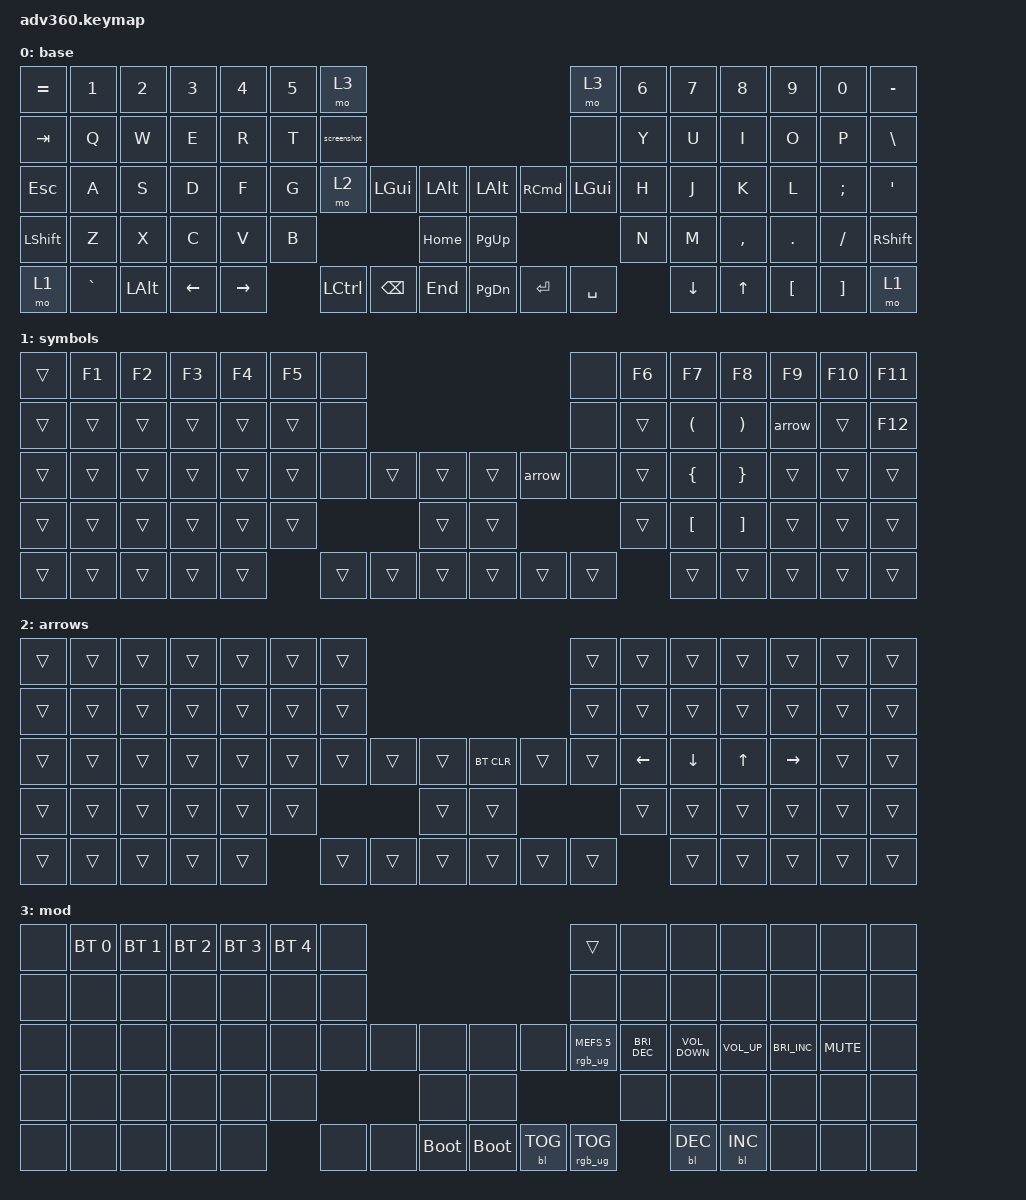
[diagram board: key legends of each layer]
#include <behaviors.dtsi>
#include <dt-bindings/zmk/backlight.h>
#include <dt-bindings/zmk/bt.h>
#include <dt-bindings/zmk/keys.h>
#include <dt-bindings/zmk/rgb.h>

/ {
    behaviors {
        #include "macros.dtsi"
      #include "version.dtsi"
      #ifndef VERSION_MACRO


        #endif

        hm: homerow_mods {
            compatible = "zmk,behavior-hold-tap";
            label = "HOMEROW_MODS";
            #binding-cells = <2>;
            tapping-term-ms = <200>;
            quick_tap_ms = <175>;
            flavor = "tap-preferred";
            bindings = <&mo>, <&kp>;
        };

        screenshot: screenshot {
            compatible = "zmk,behavior-tap-dance";
            label = "SCREENSHOT";
            #binding-cells = <0>;
            bindings = <&kp LS(LG(NUMBER_5))>, <&kp LS(LG(NUMBER_4))>;
        };

        sticky_dance: sticky_dance {
            compatible = "zmk,behavior-tap-dance";
            label = "STICKY_DANCE";
            #binding-cells = <0>;
            bindings = <&sk LS(LGUI)>, <&sk LC(LGUI)>;
        };
    };

    macros {
        arrow: arrow {
            compatible = "zmk,behavior-macro";
            #binding-cells = <0>;
            bindings = <&kp EQUAL &kp GT>;
            label = "ARROW";
        };
    };

    keymap {
        compatible = "zmk,keymap";

        base {
            bindings = <
&kp EQUAL  &kp N1     &kp N2        &kp N3          &kp N4           &kp N5  &mo 3                                                                          &mo 3      &kp N6  &kp N7          &kp N8        &kp N9    &kp N0    &kp MINUS
&kp TAB    &kp Q      &kp W         &kp E           &kp R            &kp T   &screenshot                                                                    &none      &kp Y   &kp U           &kp I         &kp O     &kp P     &kp BSLH
&kp ESC    &kp A      &kp S         &kp D           &kp F            &kp G   &mo 2        &kp LGUI       &kp LEFT_ALT      &kp LEFT_ALT  &kp RIGHT_COMMAND  &kp LGUI   &kp H   &kp J           &kp K         &kp L     &kp SEMI  &kp SQT
&kp LSHFT  &kp Z      &kp X         &kp C           &kp V            &kp B                               &kp HOME          &kp PG_UP                                   &kp N   &kp M           &kp COMMA     &kp DOT   &kp FSLH  &kp RSHFT
&mo 1      &kp GRAVE  &kp LEFT_ALT  &kp LEFT_ARROW  &kp RIGHT_ARROW          &kp LCTRL    &kp BACKSPACE  &kp END           &kp PG_DN     &kp ENTER          &kp SPACE          &kp DOWN_ARROW  &kp UP_ARROW  &kp LBKT  &kp RBKT  &mo 1
            >;
        };

        symbols {
            bindings = <
&trans  &kp F1  &kp F2  &kp F3  &kp F4  &kp F5  &none                                       &none   &kp F6  &kp F7                &kp F8                 &kp F9  &kp F10  &kp F11
&trans  &trans  &trans  &trans  &trans  &trans  &none                                       &none   &trans  &kp LEFT_PARENTHESIS  &kp RIGHT_PARENTHESIS  &arrow  &trans   &kp F12
&trans  &trans  &trans  &trans  &trans  &trans  &none   &trans  &trans      &trans  &arrow  &none   &trans  &kp LEFT_BRACE        &kp RIGHT_BRACE        &trans  &trans   &trans
&trans  &trans  &trans  &trans  &trans  &trans                  &trans      &trans                  &trans  &kp LEFT_BRACKET      &kp RIGHT_BRACKET      &trans  &trans   &trans
&trans  &trans  &trans  &trans  &trans          &trans  &trans  &trans      &trans  &trans  &trans          &trans                &trans                 &trans  &trans   &trans
            >;
        };

        arrows {
            bindings = <
&trans  &trans  &trans  &trans  &trans  &trans  &trans                                          &trans  &trans    &trans          &trans        &trans     &trans  &trans
&trans  &trans  &trans  &trans  &trans  &trans  &trans                                          &trans  &trans    &trans          &trans        &trans     &trans  &trans
&trans  &trans  &trans  &trans  &trans  &trans  &trans  &trans  &trans      &bt BT_CLR  &trans  &trans  &kp LEFT  &kp DOWN_ARROW  &kp UP_ARROW  &kp RIGHT  &trans  &trans
&trans  &trans  &trans  &trans  &trans  &trans                  &trans      &trans                      &trans    &trans          &trans        &trans     &trans  &trans
&trans  &trans  &trans  &trans  &trans          &trans  &trans  &trans      &trans      &trans  &trans            &trans          &trans        &trans     &trans  &trans
            >;
        };

        mod {
            bindings = <
&none  &bt BT_SEL 0  &bt BT_SEL 1  &bt BT_SEL 2  &bt BT_SEL 3  &bt BT_SEL 4  &none                                                   &trans                  &none                 &none              &none            &none                 &none       &none
&none  &none         &none         &none         &none         &none         &none                                                   &none                   &none                 &none              &none            &none                 &none       &none
&none  &none         &none         &none         &none         &none         &none  &none  &none            &none        &none       &rgb_ug RGB_MEFS_CMD 5  &kp C_BRIGHTNESS_DEC  &kp C_VOLUME_DOWN  &kp C_VOLUME_UP  &kp C_BRIGHTNESS_INC  &kp C_MUTE  &none
&none  &none         &none         &none         &none         &none                       &none            &none                                            &none                 &none              &none            &none                 &none       &none
&none  &none         &none         &none         &none                       &none  &none  &bootloader      &bootloader  &bl BL_TOG  &rgb_ug RGB_TOG                               &bl BL_DEC         &bl BL_INC       &none                 &none       &none
            >;
        };
    };
};
